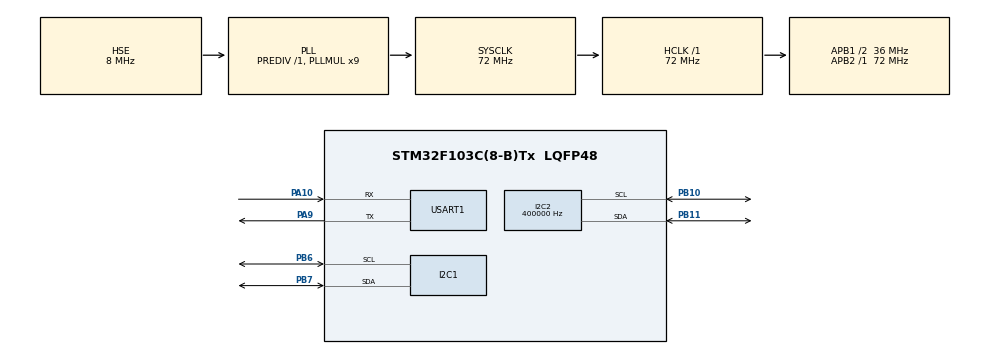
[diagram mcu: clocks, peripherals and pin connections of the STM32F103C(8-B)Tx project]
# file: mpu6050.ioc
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I2C2.ClockSpeed=400000
I2C2.I2C_Mode=I2C_Fast
Mcu.Family=STM32F1
Mcu.Name=STM32F103C(8-B)Tx
Mcu.Package=LQFP48
NVIC.PriorityGroup=NVIC_PRIORITYGROUP_4
NVIC.USART1_IRQn=true\:0\:0\:false\:false\:true\:true\:true\:true
PA10.Mode=Asynchronous
PA10.Signal=USART1_RX
PA9.Mode=Asynchronous
PA9.Signal=USART1_TX
PB10.Mode=I2C
PB10.Signal=I2C2_SCL
PB11.Mode=I2C
PB11.Signal=I2C2_SDA
PB6.Mode=I2C
PB6.Signal=I2C1_SCL
PB7.Mode=I2C
PB7.Signal=I2C1_SDA
PC14-OSC32_IN.Mode=LSE-External-Oscillator
PC14-OSC32_IN.Signal=RCC_OSC32_IN
PC15-OSC32_OUT.Mode=LSE-External-Oscillator
PC15-OSC32_OUT.Signal=RCC_OSC32_OUT
PD0-OSC_IN.Mode=HSE-External-Oscillator
PD0-OSC_IN.Signal=RCC_OSC_IN
PD1-OSC_OUT.Mode=HSE-External-Oscillator
PD1-OSC_OUT.Signal=RCC_OSC_OUT
ProjectManager.HeapSize=0x200
ProjectManager.StackSize=0x400
ProjectManager.TargetToolchain=MDK-ARM V5.32
RCC.AHBFreq_Value=72000000
RCC.APB1CLKDivider=RCC_HCLK_DIV2
RCC.APB1Freq_Value=36000000
RCC.APB1TimFreq_Value=72000000
RCC.APB2Freq_Value=72000000
RCC.APB2TimFreq_Value=72000000
RCC.HCLKFreq_Value=72000000
RCC.PLLMUL=RCC_PLL_MUL9
RCC.PLLSourceVirtual=RCC_PLLSOURCE_HSE
RCC.SYSCLKFreq_VALUE=72000000
RCC.SYSCLKSource=RCC_SYSCLKSOURCE_PLLCLK
RCC.USBFreq_Value=72000000
USART1.VirtualMode=VM_ASYNC
VP_SYS_VS_ND.Mode=No_Debug
board=custom

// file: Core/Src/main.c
/* USER CODE BEGIN Header */
/**
  ******************************************************************************
  * @file           : main.c
  * @brief          : Main program body
  ******************************************************************************
  * @attention
  *
  * Copyright (c) 2023 STMicroelectronics.
  * All rights reserved.
  *
  * This software is licensed under terms that can be found in the LICENSE file
  * in the root directory of this software component.
  * If no LICENSE file comes with this software, it is provided AS-IS.
  *
  ******************************************************************************
  */
/* USER CODE END Header */
#include "main.h"
#include "i2c.h"
#include "usart.h"
#include "gpio.h"

/* USER CODE BEGIN Includes */
#include "oled.h"
#include "mpu6050.h"
#include "stdio.h"
#include "inv_mpu.h"
#include "inv_mpu_dmp_motion_driver.h"
#include "cmsis_armcc.h"
#include "send_to_client.h"
/* USER CODE END Includes */

void SystemClock_Config(void);

int main(void)
{

  /* MCU Configuration--------------------------------------------------------*/

  /* Reset of all peripherals, Initializes the Flash interface and the Systick. */
  HAL_Init();

  /* Configure the system clock */
  SystemClock_Config();

  /* Initialize all configured peripherals */
  MX_GPIO_Init();
  MX_I2C1_Init();
  MX_I2C2_Init();
  MX_USART1_UART_Init();
  /* USER CODE BEGIN 2 */
	OLED_Init();
	MPU_Init();
	uint8_t cnt=0;
	while(mpu_dmp_init()!=0) {OLED_Display_Buffer(0,0,"MPU ERR!");HAL_Delay(10);cnt++;if(cnt==8) {__set_FAULTMASK(1);NVIC_SystemReset();} }
	OLED_Display_Buffer(0,0,"MPU OKK!");
	HAL_Delay(1000);
	OLED_Display_Clear();
	short Gyro[3]={0};
	short Accel[3]={0};
	short temp=0;
	float buff[3]={0};
//	OLED_Display_Buffer(2,0,"ax:");
//	OLED_Display_Buffer(4,0,"ay:");
//	OLED_Display_Buffer(6,0,"az:");
//	OLED_Display_Buffer(2,9,"gx:");
//	OLED_Display_Buffer(4,9,"gy:");
//	OLED_Display_Buffer(6,9,"gz:");

  /* USER CODE END 2 */

  /* Infinite loop */
  /* USER CODE BEGIN WHILE */
  while (1)
  {
//	  HAL_Delay(3);
//		mpu_reset_fifo();
//		HAL_Delay(1);
//	  temp=MPU_GetTemp();
	  MPU_GetGyro(Gyro,Gyro+1,Gyro+2);
	  MPU_GetAccel(Accel,Accel+1,Accel+2);
	  for(uint8_t i=0;i<3;i++)
	  {
		Gyro[i]=MPU_GetGyro2(Gyro[i]);
		Accel[i]=MPU_GetAccel2(Accel[i]);
	  }
	  if(mpu_dmp_get_data(buff,buff+1,buff+2)==0)
//	  OLED_Display_Num(0,5,temp,4);
//	  OLED_Display_Num(2,0,buff[0]*1000,8);
//	  OLED_Display_Num(4,0,buff[1]*1000,8);
//	  OLED_Display_Num(6,0,buff[2]*1000,8);
//	  OLED_Display_Num(2,9,Gyro[0],5);
//	  OLED_Display_Num(4,9,Gyro[1],5);
//	  OLED_Display_Num(6,9,Gyro[2],5);
//	  printf("Temp:%5d\r\n ax:%5d ay:%5d az:%5d\r\n gx:%5d gy:%5d gz:%5d\r\n",temp,Accel[0],Accel[1],Accel[2],Gyro[0],Gyro[1],Gyro[2]);
//			printf("pitch=%f,roll=%f,yaw=%f\r\n",buff[0],buff[1],buff[2]);
		OLED_Display_Num(0,0,(uint16_t)(buff[0]*1000),5);
	  OLED_Display_Num(2,0,(uint16_t)(buff[1]*1000),5);
	  OLED_Display_Num(4,0,(uint16_t)(buff[2]*1000),5);
	  usart_report_imu(Accel[0],Accel[1],Accel[2],Gyro[0],Gyro[1],Gyro[2],buff[0],buff[1],buff[2]);
    /* USER CODE END WHILE */

  }
}

void SystemClock_Config(void)
{
  RCC_OscInitTypeDef RCC_OscInitStruct = {0};
  RCC_ClkInitTypeDef RCC_ClkInitStruct = {0};

  /** Initializes the RCC Oscillators according to the specified parameters
  * in the RCC_OscInitTypeDef structure.
  */
  RCC_OscInitStruct.OscillatorType = RCC_OSCILLATORTYPE_HSE;
  RCC_OscInitStruct.HSEState = RCC_HSE_ON;
  RCC_OscInitStruct.HSEPredivValue = RCC_HSE_PREDIV_DIV1;
  RCC_OscInitStruct.HSIState = RCC_HSI_ON;
  RCC_OscInitStruct.PLL.PLLState = RCC_PLL_ON;
  RCC_OscInitStruct.PLL.PLLSource = RCC_PLLSOURCE_HSE;
  RCC_OscInitStruct.PLL.PLLMUL = RCC_PLL_MUL9;
  if (HAL_RCC_OscConfig(&RCC_OscInitStruct) != HAL_OK)
  {
    Error_Handler();
  }

  /** Initializes the CPU, AHB and APB buses clocks
  */
  RCC_ClkInitStruct.ClockType = RCC_CLOCKTYPE_HCLK|RCC_CLOCKTYPE_SYSCLK
                              |RCC_CLOCKTYPE_PCLK1|RCC_CLOCKTYPE_PCLK2;
  RCC_ClkInitStruct.SYSCLKSource = RCC_SYSCLKSOURCE_PLLCLK;
  RCC_ClkInitStruct.AHBCLKDivider = RCC_SYSCLK_DIV1;
  RCC_ClkInitStruct.APB1CLKDivider = RCC_HCLK_DIV2;
  RCC_ClkInitStruct.APB2CLKDivider = RCC_HCLK_DIV1;

  if (HAL_RCC_ClockConfig(&RCC_ClkInitStruct, FLASH_LATENCY_2) != HAL_OK)
  {
    Error_Handler();
  }
}

void Error_Handler(void)
{
  __disable_irq();
  while (1)
  {
  }
}
